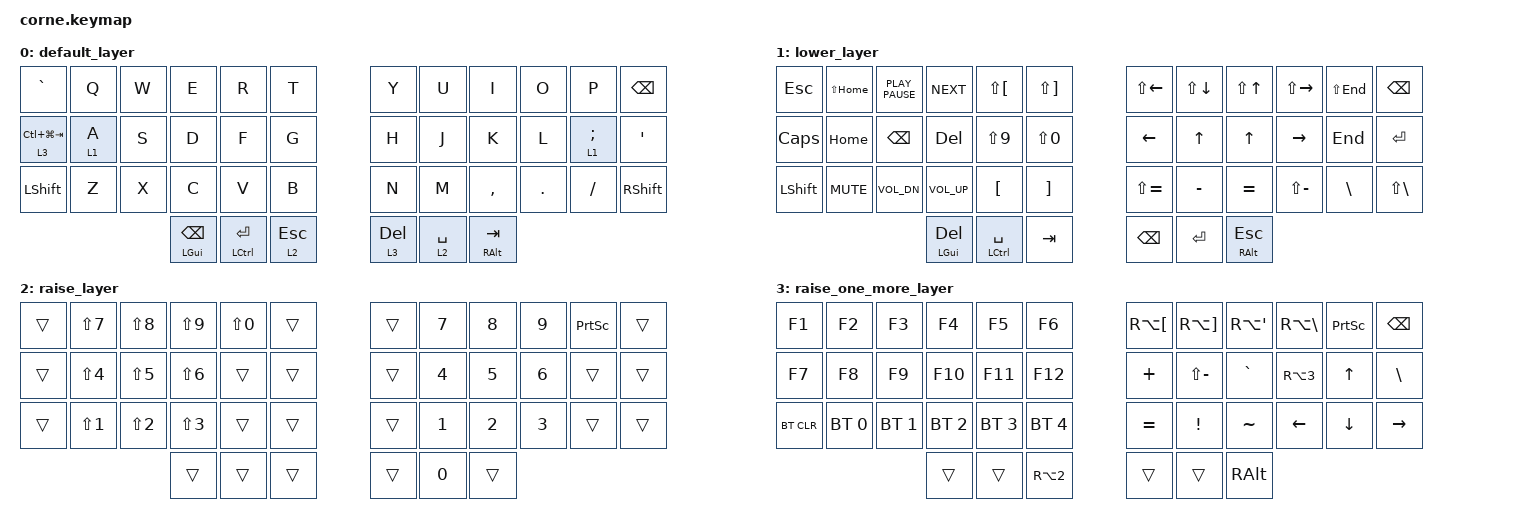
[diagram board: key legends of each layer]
/*
 * Copyright (c) 2020 The ZMK Contributors
 *
 * SPDX-License-Identifier: MIT
 */

#include <behaviors.dtsi>
#include <dt-bindings/zmk/keys.h>
#include <dt-bindings/zmk/bt.h>

/ {
        keymap {
                compatible = "zmk,keymap";

                default_layer {
                        bindings = <
   &kp GRAVE &kp Q &kp W &kp E &kp R &kp T         &kp Y &kp U  &kp I     &kp O   &kp P    &kp BSPC
   &lt 3 LC(LG(TAB)) &lt 1 A &kp S &kp D &kp F &kp G       &kp H &kp J  &kp K     &kp L   &lt 1 SEMI &kp SQT
   &kp LSHFT &kp Z &kp X &kp C &kp V &kp B         &kp N &kp M  &kp COMMA &kp DOT &kp FSLH &kp RSHFT
     &mt LGUI BSPC &mt LCTRL RET &lt 2 ESC         &lt 3 DEL &lt 2 SPACE &mt RALT TAB 
                        >;
                };
                lower_layer {
                        bindings = <
   &kp ESC       &kp LS(HOME)     &kp K_PLAY_PAUSE  &kp K_NEXT   &kp LS(LBKT)  &kp LS(RBKT)        &kp LS(LEFT) &kp LS(DOWN) &kp LS(UP)  &kp LS(RIGHT)  &kp LS(END) &kp BSPC
   &kp CLCK      &kp HOME         &kp BSPC          &kp DEL      &kp LS(N9)    &kp LS(N0)          &kp LEFT     &kp UP       &kp UP      &kp RIGHT      &kp END     &kp RET
   &kp LSHFT     &kp K_MUTE       &kp K_VOL_DN      &kp K_VOL_UP &kp LBKT      &kp RBKT            &kp LS(EQUAL) &kp MINUS   &kp EQUAL   &kp LS(MINUS)  &kp BSLH    &kp LS(BSLH)   
                                                    &mt LGUI DEL &mt LCTRL SPACE &kp TAB           &kp BSPC    &kp RET    &mt RALT ESC
                        >;
                };
                raise_layer {
                        bindings = <
   &trans       &kp LS(7)    &kp LS(8)    &kp LS(9)    &kp LS(0)    &trans          &trans        &kp 7          &kp 8        &kp 9      &kp PSCRN   &trans
   &trans       &kp LS(4)    &kp LS(5)    &kp LS(6)    &trans       &trans          &trans        &kp 4          &kp 5        &kp 6      &trans      &trans
   &trans       &kp LS(1)    &kp LS(2)    &kp LS(3)    &trans       &trans          &trans        &kp 1          &kp 2        &kp 3      &trans      &trans
                                          &trans       &trans       &trans          &trans        &kp 0          &trans
                        >;
                };
                raise_one_more_layer {
                        bindings = <
   &kp F1       &kp F2       &kp F3       &kp F4       &kp F5       &kp F6          &kp RA(LBKT)  &kp RA(RBKT)   &kp RA(SQT)  &kp RA(BSLH)  &kp PSCRN   &kp BSPC
   &kp F7       &kp F8       &kp F9       &kp F10      &kp F11      &kp F12         &kp PLUS      &kp LS(MINUS)  &kp GRAVE    &kp RA(N3)    &kp UP      &kp BSLH
   &bt BT_CLR   &bt BT_SEL 0 &bt BT_SEL 1 &bt BT_SEL 2 &bt BT_SEL 3 &bt BT_SEL 4    &kp EQUAL     &kp EXCL       &kp TILDE    &kp LEFT      &kp DOWN    &kp RIGHT
                                          &trans       &trans       &kp RA(N2)      &trans        &trans         &kp RALT
                        >;
                };
        };
};
